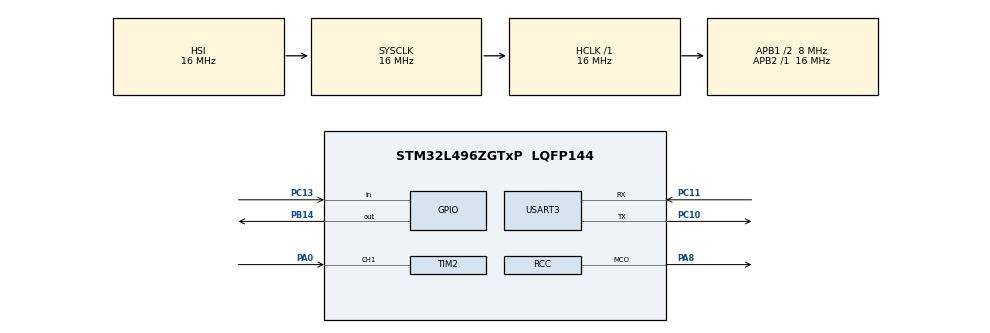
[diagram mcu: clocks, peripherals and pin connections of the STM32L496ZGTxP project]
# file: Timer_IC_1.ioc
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Mcu.Family=STM32L4
Mcu.Name=STM32L496ZGTxP
Mcu.Package=LQFP144
NVIC.PriorityGroup=NVIC_PRIORITYGROUP_4
NVIC.TIM2_IRQn=true\:0\:0\:false\:false\:true\:true\:true\:true
PA0.Signal=S_TIM2_CH1
PA8.Mode=Clock-out
PA8.Signal=RCC_MCO
PB14.Signal=GPIO_Output
PB6.Signal=USART1_TX
PB7.Signal=USART1_RX
PC10.Mode=Asynchronous
PC10.Signal=USART3_TX
PC11.Mode=Asynchronous
PC11.Signal=USART3_RX
PC13.Signal=GPIO_Input
PC14-OSC32_IN\ (PC14).Mode=LSE-External-Oscillator
PC14-OSC32_IN\ (PC14).Signal=RCC_OSC32_IN
PC15-OSC32_OUT\ (PC15).Mode=LSE-External-Oscillator
PC15-OSC32_OUT\ (PC15).Signal=RCC_OSC32_OUT
ProjectManager.HeapSize=0x200
ProjectManager.StackSize=0x400
ProjectManager.TargetToolchain=STM32CubeIDE
RCC.48MHZClocksFreq_Value=24000000
RCC.ADCFreq_Value=48000000
RCC.AHBFreq_Value=16000000
RCC.APB1CLKDivider=RCC_HCLK_DIV2
RCC.APB1Freq_Value=8000000
RCC.APB1TimFreq_Value=16000000
RCC.APB2Freq_Value=16000000
RCC.APB2TimFreq_Value=16000000
RCC.CortexFreq_Value=16000000
RCC.HCLKFreq_Value=16000000
RCC.HSE_VALUE=8000000
RCC.HSI48_VALUE=48000000
RCC.HSI_VALUE=16000000
RCC.MSIClockRange=RCC_MSIRANGE_9
RCC.MSI_VALUE=24000000
RCC.PLLM=5
RCC.PLLMUL=RCC_PLL_MUL9
RCC.PLLN=71
RCC.PLLR=RCC_PLLR_DIV6
RCC.PLLSAI1N=20
RCC.PRESCALERUSB=RCC_USBCLKSOURCE_PLL_DIV1_5
RCC.RCC_MCO1Source=RCC_MCO1SOURCE_LSE
RCC.SYSCLKFreq_VALUE=16000000
RCC.SYSCLKSource=RCC_SYSCLKSOURCE_HSI
RCC.SYSCLKSourceVirtual=RCC_SYSCLKSOURCE_PLLCLK
RCC.USBFreq_Value=48000000
RCC.VCOOutputFreq_Value=340800000
SH.S_TIM2_CH1.0=TIM2_CH1,Input_Capture1_from_TI1
TIM2.Channel-Input_Capture1_from_TI1=TIM_CHANNEL_1
USART3.VirtualMode-Asynchronous=VM_ASYNC
VP_TIM2_VS_ClockSourceITR.Mode=TriggerSource_ITR0
board=NUCLEO-L496ZG-P

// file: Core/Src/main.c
/* USER CODE BEGIN Header */
/**
  ******************************************************************************
  * @file           : main.c
  * @brief          : Main program body
  ******************************************************************************
  * @attention
  *
  * Copyright (c) 2023 STMicroelectronics.
  * All rights reserved.
  *
  * This software is licensed under terms that can be found in the LICENSE file
  * in the root directory of this software component.
  * If no LICENSE file comes with this software, it is provided AS-IS.
  *
  ******************************************************************************
  */
/* USER CODE END Header */
#include "main.h"

/* USER CODE BEGIN Includes */
#include<string.h>
#include<stdio.h>

/* USER CODE END Includes */

/* USER CODE BEGIN PD */
#define TRUE 1
#define FALSE 0
/* USER CODE END PD */

TIM_HandleTypeDef htim2;

UART_HandleTypeDef huart3;

/* USER CODE BEGIN PV */
uint32_t input_captures[2] = {0};
uint8_t count = 1;
volatile uint8_t is_capture_done = FALSE;
/* USER CODE END PV */

void SystemClock_Config(void);
static void MX_GPIO_Init(void);
static void MX_TIM2_Init(void);
static void MX_USART3_UART_Init(void);

int main(void)
{
  /* USER CODE BEGIN 1 */
uint32_t capture_difference =0;
double timer2_cnt_freq=0;
double timer2_cnt_res=0;
double user_signl_time_period=0;
double user_signal_frequecncy=0;
char user_msg[100];
  /* USER CODE END 1 */

  /* MCU Configuration--------------------------------------------------------*/

  /* Reset of all peripherals, Initializes the Flash interface and the Systick. */
  HAL_Init();

  /* Configure the system clock */
  SystemClock_Config();

  /* Initialize all configured peripherals */
  MX_GPIO_Init();
  MX_TIM2_Init();
  MX_USART3_UART_Init();
  /* USER CODE BEGIN 2 */
HAL_TIM_IC_Start_IT(&htim2, TIM_CHANNEL_1);
strcpy(user_msg,"Application is Running\n\r");
HAL_UART_Transmit(&huart3, (uint8_t *)user_msg, strlen(user_msg), HAL_MAX_DELAY);
  /* USER CODE END 2 */

  /* Infinite loop */
  while (1)
  {

    /* USER CODE BEGIN 3 */

	  if(is_capture_done){
		  if(input_captures[1]>input_captures[0]){
			  capture_difference=input_captures[1]-input_captures[0];
		  }else{
			  capture_difference = (0xFFFFFFFF - input_captures[0]) + input_captures[1];
		  }

		  timer2_cnt_freq = (HAL_RCC_GetPCLK1Freq()*2) / (htim2.Init.Prescaler + 1);
		  timer2_cnt_res = 1/ timer2_cnt_freq;
		  user_signl_time_period=capture_difference * timer2_cnt_res;
		  user_signal_frequecncy=1/user_signl_time_period;

		  sprintf(user_msg,"\n\rFrequency of the signal is : %0.2f",user_signal_frequecncy);
		  HAL_UART_Transmit(&huart3, (uint8_t *)user_msg, strlen(user_msg), HAL_MAX_DELAY);

		  is_capture_done = FALSE;

	  }
  }
  /* USER CODE END 3 */
}

void SystemClock_Config(void)
{
  RCC_OscInitTypeDef RCC_OscInitStruct = {0};
  RCC_ClkInitTypeDef RCC_ClkInitStruct = {0};

  /** Configure the main internal regulator output voltage
  */
  if (HAL_PWREx_ControlVoltageScaling(PWR_REGULATOR_VOLTAGE_SCALE1) != HAL_OK)
  {
    Error_Handler();
  }

  /** Configure LSE Drive Capability
  */
  HAL_PWR_EnableBkUpAccess();
  __HAL_RCC_LSEDRIVE_CONFIG(RCC_LSEDRIVE_LOW);

  /** Initializes the RCC Oscillators according to the specified parameters
  * in the RCC_OscInitTypeDef structure.
  */
  RCC_OscInitStruct.OscillatorType = RCC_OSCILLATORTYPE_HSI|RCC_OSCILLATORTYPE_LSE;
  RCC_OscInitStruct.LSEState = RCC_LSE_ON;
  RCC_OscInitStruct.HSIState = RCC_HSI_ON;
  RCC_OscInitStruct.HSICalibrationValue = RCC_HSICALIBRATION_DEFAULT;
  RCC_OscInitStruct.PLL.PLLState = RCC_PLL_NONE;
  if (HAL_RCC_OscConfig(&RCC_OscInitStruct) != HAL_OK)
  {
    Error_Handler();
  }

  /** Initializes the CPU, AHB and APB buses clocks
  */
  RCC_ClkInitStruct.ClockType = RCC_CLOCKTYPE_HCLK|RCC_CLOCKTYPE_SYSCLK
                              |RCC_CLOCKTYPE_PCLK1|RCC_CLOCKTYPE_PCLK2;
  RCC_ClkInitStruct.SYSCLKSource = RCC_SYSCLKSOURCE_HSI;
  RCC_ClkInitStruct.AHBCLKDivider = RCC_SYSCLK_DIV1;
  RCC_ClkInitStruct.APB1CLKDivider = RCC_HCLK_DIV2;
  RCC_ClkInitStruct.APB2CLKDivider = RCC_HCLK_DIV1;

  if (HAL_RCC_ClockConfig(&RCC_ClkInitStruct, FLASH_LATENCY_0) != HAL_OK)
  {
    Error_Handler();
  }
  HAL_RCC_MCOConfig(RCC_MCO1, RCC_MCO1SOURCE_LSE, RCC_MCODIV_1);
}

static void MX_TIM2_Init(void)
{

  TIM_SlaveConfigTypeDef sSlaveConfig = {0};
  TIM_MasterConfigTypeDef sMasterConfig = {0};
  TIM_IC_InitTypeDef sConfigIC = {0};

  htim2.Instance = TIM2;
  htim2.Init.Prescaler = 0;
  htim2.Init.CounterMode = TIM_COUNTERMODE_UP;
  htim2.Init.Period = 4294967295;
  htim2.Init.ClockDivision = TIM_CLOCKDIVISION_DIV1;
  htim2.Init.AutoReloadPreload = TIM_AUTORELOAD_PRELOAD_DISABLE;
  if (HAL_TIM_Base_Init(&htim2) != HAL_OK)
  {
    Error_Handler();
  }
  if (HAL_TIM_IC_Init(&htim2) != HAL_OK)
  {
    Error_Handler();
  }
  sSlaveConfig.SlaveMode = TIM_SLAVEMODE_DISABLE;
  sSlaveConfig.InputTrigger = TIM_TS_ITR0;
  if (HAL_TIM_SlaveConfigSynchro(&htim2, &sSlaveConfig) != HAL_OK)
  {
    Error_Handler();
  }
  sMasterConfig.MasterOutputTrigger = TIM_TRGO_RESET;
  sMasterConfig.MasterSlaveMode = TIM_MASTERSLAVEMODE_DISABLE;
  if (HAL_TIMEx_MasterConfigSynchronization(&htim2, &sMasterConfig) != HAL_OK)
  {
    Error_Handler();
  }
  sConfigIC.ICPolarity = TIM_INPUTCHANNELPOLARITY_RISING;
  sConfigIC.ICSelection = TIM_ICSELECTION_DIRECTTI;
  sConfigIC.ICPrescaler = TIM_ICPSC_DIV1;
  sConfigIC.ICFilter = 0;
  if (HAL_TIM_IC_ConfigChannel(&htim2, &sConfigIC, TIM_CHANNEL_1) != HAL_OK)
  {
    Error_Handler();
  }

}

static void MX_USART3_UART_Init(void)
{

  huart3.Instance = USART3;
  huart3.Init.BaudRate = 115200;
  huart3.Init.WordLength = UART_WORDLENGTH_8B;
  huart3.Init.StopBits = UART_STOPBITS_1;
  huart3.Init.Parity = UART_PARITY_NONE;
  huart3.Init.Mode = UART_MODE_TX_RX;
  huart3.Init.HwFlowCtl = UART_HWCONTROL_NONE;
  huart3.Init.OverSampling = UART_OVERSAMPLING_16;
  huart3.Init.OneBitSampling = UART_ONE_BIT_SAMPLE_DISABLE;
  huart3.AdvancedInit.AdvFeatureInit = UART_ADVFEATURE_NO_INIT;
  if (HAL_UART_Init(&huart3) != HAL_OK)
  {
    Error_Handler();
  }

}

static void MX_GPIO_Init(void)
{
  GPIO_InitTypeDef GPIO_InitStruct = {0};

  /* GPIO Ports Clock Enable */
  __HAL_RCC_GPIOC_CLK_ENABLE();
  __HAL_RCC_GPIOA_CLK_ENABLE();
  __HAL_RCC_GPIOB_CLK_ENABLE();

  /*Configure GPIO pin Output Level */
  HAL_GPIO_WritePin(GPIOB, GPIO_PIN_14, GPIO_PIN_RESET);

  /*Configure GPIO pin : PC13 */
  GPIO_InitStruct.Pin = GPIO_PIN_13;
  GPIO_InitStruct.Mode = GPIO_MODE_INPUT;
  GPIO_InitStruct.Pull = GPIO_NOPULL;
  HAL_GPIO_Init(GPIOC, &GPIO_InitStruct);

  /*Configure GPIO pin : PB14 */
  GPIO_InitStruct.Pin = GPIO_PIN_14;
  GPIO_InitStruct.Mode = GPIO_MODE_OUTPUT_PP;
  GPIO_InitStruct.Pull = GPIO_NOPULL;
  GPIO_InitStruct.Speed = GPIO_SPEED_FREQ_LOW;
  HAL_GPIO_Init(GPIOB, &GPIO_InitStruct);

  /*Configure GPIO pin : PA8 */
  GPIO_InitStruct.Pin = GPIO_PIN_8;
  GPIO_InitStruct.Mode = GPIO_MODE_AF_PP;
  GPIO_InitStruct.Pull = GPIO_NOPULL;
  GPIO_InitStruct.Speed = GPIO_SPEED_FREQ_LOW;
  GPIO_InitStruct.Alternate = GPIO_AF0_MCO;
  HAL_GPIO_Init(GPIOA, &GPIO_InitStruct);

  /*Configure GPIO pins : PB6 PB7 */
  GPIO_InitStruct.Pin = GPIO_PIN_6|GPIO_PIN_7;
  GPIO_InitStruct.Mode = GPIO_MODE_AF_PP;
  GPIO_InitStruct.Pull = GPIO_NOPULL;
  GPIO_InitStruct.Speed = GPIO_SPEED_FREQ_VERY_HIGH;
  GPIO_InitStruct.Alternate = GPIO_AF7_USART1;
  HAL_GPIO_Init(GPIOB, &GPIO_InitStruct);

}

/* USER CODE BEGIN 4 */
/*
 * Activate LSE Crystal Oscillator
 * Here we will make some setting so, one GPIO pin can be configured with external pin of controller
 */
/*
void LSE_Configuration(void)
{
#if 0
	RCC_OscInitTypeDef RCC_OscInitStruct;
	 RCC_OscInitStruct.OscillatorType = RCC_OSCILLATORTYPE_LSE;
	 RCC_OscInitStruct.LSEState = RCC_LSE_ON;

	 if (HAL_RCC_OscConfig(&RCC_OscInitStruct) != HAL_OK)
	  {
	    Error_Handler();
	  }
#endif
	 HAL_RCC_MCOConfig( RCC_MCO1, RCC_MCO1SOURCE_LSE, RCC_MCODIV_1);
}
*/

void HAL_TIM_IC_CaptureCallback(TIM_HandleTypeDef *htim)
{
  if(! is_capture_done){
	if(count==1){
//		input_captures[0]=__HAL_TIM_GET_COMPARE(htim,TIM_CHANNEL_1);
		input_captures[0]=HAL_TIM_ReadCapturedValue(htim, TIM_CHANNEL_1);
		count++;
	}else if(count==2){
		input_captures[1]=__HAL_TIM_GET_COMPARE(htim,TIM_CHANNEL_1);
		count=1;
		is_capture_done = TRUE;
	}
  }
}

/* USER CODE END 4 */

void Error_Handler(void)
{
  __disable_irq();
  while (1)
  {
  }
}
